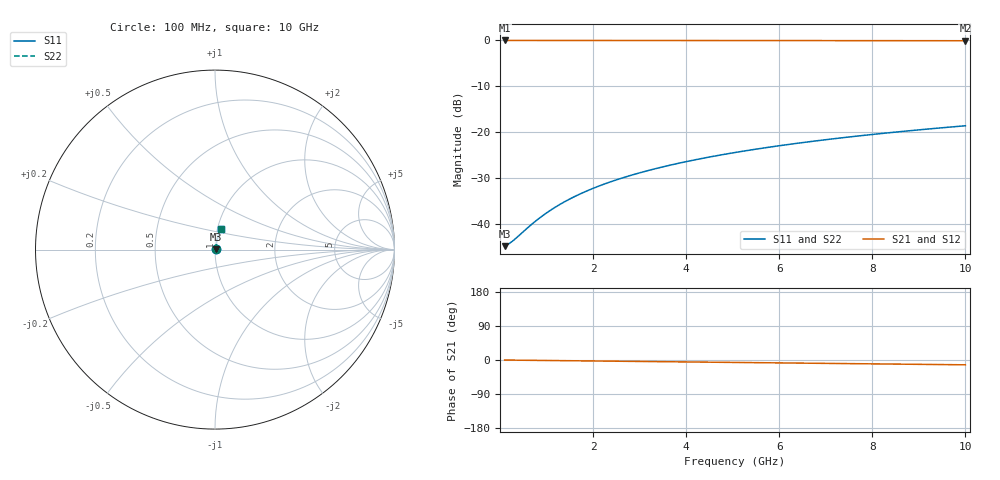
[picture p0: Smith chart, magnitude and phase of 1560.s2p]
# Hz S RI R 50.00
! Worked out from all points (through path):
!   100 points, 100 MHz to 10 GHz, reference 50 ohm
!   highest |S21| = -0.05 dB at 100 MHz (marker M1); lowest = -0.1 dB at 10 GHz (marker M2)
!   group delay of S21, straight-line fit = 3.53 ps
!   lowest |S11| = -44.8 dB at 100 MHz (marker M3), VSWR 1.01, Z = 50.6 + j0.119 ohm
!   |S11| at or under -10 dB: start of sweep to end of sweep
!   |S22| runs from -44.8 to -18.6 dB; largest |S21 - S12| = 0
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1e8  0.00561 0.00117  0.9944 -0.00221  0.9944 -0.00221  0.00561 0.00117
2e8  0.00565 0.00235  0.9943 -0.00443  0.9943 -0.00443  0.00565 0.00235
3e8  0.00569 0.00352  0.9943 -0.00664  0.9943 -0.00664  0.00569 0.00352
7e8  0.00587 0.00821  0.9941 -0.0155  0.9941 -0.0155  0.00587 0.00821
8e8  0.00592 0.00938  0.994 -0.0177  0.994 -0.0177  0.00592 0.00938
1e9  0.00604 0.0117  0.9939 -0.0221  0.9939 -0.0221  0.00604 0.0117
1.2e9  0.00618 0.0141  0.9937 -0.0266  0.9937 -0.0266  0.00618 0.0141
1.4e9  0.00633 0.0164  0.9935 -0.031  0.9935 -0.031  0.00633 0.0164
1.6e9  0.0065 0.0187  0.9933 -0.0354  0.9933 -0.0354  0.0065 0.0187
1.8e9  0.0067 0.0211  0.9931 -0.0398  0.9931 -0.0398  0.0067 0.0211
2.1e9  0.00702 0.0246  0.9927 -0.0464  0.9927 -0.0464  0.00702 0.0246
2.5e9  0.00753 0.0292  0.9921 -0.0553  0.9921 -0.0553  0.00753 0.0292
2.9e9  0.00812 0.0339  0.9914 -0.0641  0.9914 -0.0641  0.00812 0.0339
3.4e9  0.00896 0.0397  0.9904 -0.0751  0.9904 -0.0751  0.00896 0.0397
3.8e9  0.00973 0.0443  0.9894 -0.0839  0.9894 -0.0839  0.00973 0.0443
4.2e9  0.0106 0.0489  0.9884 -0.0926  0.9884 -0.0926  0.0106 0.0489
5.1e9  0.0128 0.0592  0.9857 -0.1123  0.9857 -0.1123  0.0128 0.0592
5.9e9  0.0151 0.0682  0.983 -0.1297  0.983 -0.1297  0.0151 0.0682
6.7e9  0.0177 0.0772  0.9798 -0.147  0.9798 -0.147  0.0177 0.0772
7.5e9  0.0206 0.086  0.9762 -0.1642  0.9762 -0.1642  0.0206 0.086
8.4e9  0.0243 0.0958  0.9718 -0.1833  0.9718 -0.1833  0.0243 0.0958
1e10  0.0317 0.1128  0.9627 -0.217  0.9627 -0.217  0.0317 0.1128
